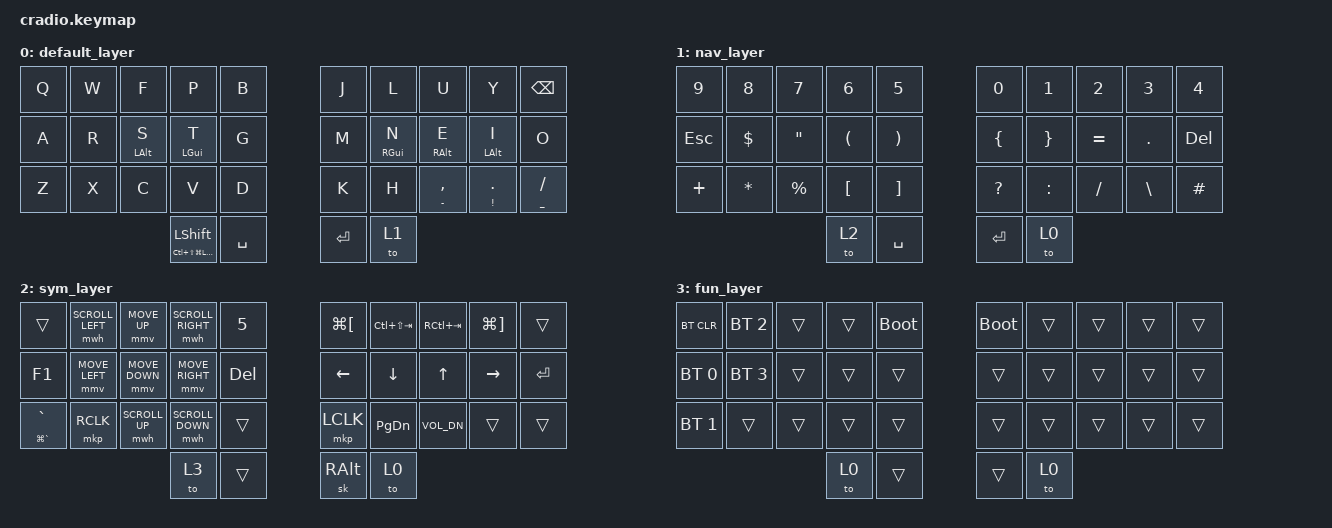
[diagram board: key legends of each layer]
/*
 * Copyright (c) 2020 The ZMK Contributors
 *
 * SPDX-License-Identifier: MIT
 */

#include <behaviors.dtsi>
#include <dt-bindings/zmk/bt.h>
#include <dt-bindings/zmk/keys.h>
#include <dt-bindings/zmk/mouse.h>

#define COLEMAK 0
#define NAV 1
#define NUM 2
#define SYM 3
#define FUN 4

&mt {
    flavor = "tap-preferred";
    tapping_term_ms = <280>;
    quick_tap_ms = <75>;
};

&mmv {
    time-to-max-speed-ms = <680>;
    acceleration-exponent = <2>;
};

/ {
    behaviors {
        hm: homerow_mods {
            compatible = "zmk,behavior-hold-tap";
            label = "HOMEROW_MODS";
            #binding-cells = <2>;
            tapping-term-ms = <200>;
            quick_tap_ms = <0>;
            flavor = "tap-preferred";
            bindings = <&kp>, <&kp>;
        };

        td: tapdance {
            compatible = "zmk,behavior-hold-tap";
            label = "TAPDANCE";
            #binding-cells = <2>;
            tapping-term-ms = <150>;
            quick_tap_ms = <0>;
            flavor = "tap-preferred";
            bindings = <&kp>, <&kp>;
        };
    };

    keymap {
        compatible = "zmk,keymap";

        default_layer {
            bindings = <
&kp Q  &kp W  &kp F       &kp P                        &kp B        &kp J      &kp L       &kp U            &kp Y         &kp BACKSPACE
&kp A  &kp R  &hm LALT S  &hm LGUI T                   &kp G        &kp M      &hm RGUI N  &hm RALT E       &mt LALT I    &kp O
&kp Z  &kp X  &kp C       &kp V                        &kp D        &kp K      &kp H       &td MINUS COMMA  &td EXCL DOT  &td UNDERSCORE SLASH
                          &mt LC(LS(LG(LALT))) LSHIFT  &kp SPACE    &kp ENTER  &to 1
            >;
        };

        nav_layer {
            bindings = <
&kp NUMBER_9  &kp NUMBER_8  &kp NUMBER_7       &kp NUMBER_6          &kp NUMBER_5             &kp N0          &kp NUMBER_1     &kp NUMBER_2  &kp NUMBER_3   &kp NUMBER_4
&kp ESCAPE    &kp DOLLAR    &kp DOUBLE_QUOTES  &kp LEFT_PARENTHESIS  &kp RIGHT_PARENTHESIS    &kp LEFT_BRACE  &kp RIGHT_BRACE  &kp EQUAL     &kp DOT        &kp DEL
&kp PLUS      &kp ASTERISK  &kp PERCENT        &kp LBKT              &kp RIGHT_BRACKET        &kp QUESTION    &kp COLON        &kp SLASH     &kp BACKSLASH  &kp HASH
                                               &to 2                 &kp SPACE                &kp ENTER       &to 0
            >;
        };

        sym_layer {
            bindings = <
&trans               &mwh SCROLL_LEFT  &mmv MOVE_UP    &mwh SCROLL_RIGHT  &kp NUM_5    &kp LG(LBKT)  &kp LC(LS(TAB))  &kp RC(TAB)   &kp LG(RBKT)  &trans
&kp F1               &mmv MOVE_LEFT    &mmv MOVE_DOWN  &mmv MOVE_RIGHT    &kp DEL      &kp LEFT      &kp DOWN         &kp UP        &kp RIGHT     &kp ENTER
&td LG(GRAVE) GRAVE  &mkp RCLK         &mwh SCROLL_UP  &mwh SCROLL_DOWN   &trans       &mkp LCLK     &kp PG_DN        &kp K_VOL_DN  &trans        &trans
                                                       &to 3              &trans       &sk RALT      &to 0
            >;
        };

        fun_layer {
            bindings = <
&bt BT_CLR    &bt BT_SEL 2  &trans  &trans  &bootloader    &bootloader  &trans  &trans  &trans  &trans
&bt BT_SEL 0  &bt BT_SEL 3  &trans  &trans  &trans         &trans       &trans  &trans  &trans  &trans
&bt BT_SEL 1  &trans        &trans  &trans  &trans         &trans       &trans  &trans  &trans  &trans
                                    &to 0   &trans         &trans       &to 0
            >;
        };
    };
};
